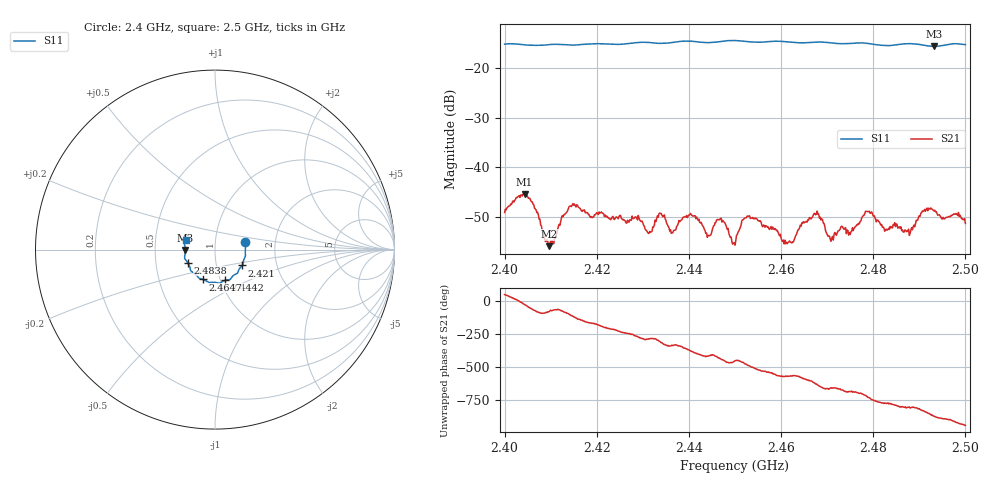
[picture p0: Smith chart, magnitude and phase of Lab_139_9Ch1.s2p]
# Hz S RI R 50
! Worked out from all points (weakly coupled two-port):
!   601 points, 2.4 GHz to 2.5 GHz, reference 50 ohm
!   highest |S21| = -45.38 dB at 2.4043 GHz (marker M1); lowest = -55.9 dB at 2.4097 GHz (marker M2)
!   lowest |S11| = -15.6 dB at 2.4932 GHz (marker M3), VSWR 1.40, Z = 35.8 - j0.109 ohm
!   |S11| at or under -10 dB: start of sweep to end of sweep
!   S12 and S22 are empty: the file has one direction only
!   S11 on the Smith chart (normalised r, x): 2.4 GHz: 1.40, +0.12; 2.421 GHz: 1.33, -0.24; 2.4442 GHz: 1.05, -0.37; 2.4647 GHz: 0.83, -0.28; 2.4838 GHz: 0.73, -0.11; 2.5 GHz: 0.71, +0.08
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2.4e9  0.1689 0.0404  0.00244 0.00253  0 0  0 0
2.404333e9  0.1703 0.0158  0.00466 -0.0027  0 0  0 0
2.409667e9  0.1697 -0.0269  0.000233 -0.00159  0 0  0 0
2.414333e9  0.1619 -0.0518  -0.00134 -0.00385  0 0  0 0
2.416667e9  0.1581 -0.0685  -0.00306 -0.00204  0 0  0 0
2.421e9  0.1514 -0.0886  -0.00347 0.000833  0 0  0 0
2.4315e9  0.1194 -0.1352  0.000696 0.00216  0 0  0 0
2.433333e9  0.1085 -0.1401  0.00149 0.00277  0 0  0 0
2.440833e9  0.0791 -0.1678  0.00291 -0.0014  0 0  0 0
2.444167e9  0.0569 -0.1707  0.00109 -0.00176  0 0  0 0
2.4465e9  0.0393 -0.1794  0.001 -0.00278  0 0  0 0
2.45e9  0.0245 -0.1874  -8.05e-05 -0.00165  0 0  0 0
2.452667e9  0.0118 -0.184  -0.0018 -0.00269  0 0  0 0
2.461167e9  -0.0409 -0.1788  -0.00155 0.000847  0 0  0 0
2.464667e9  -0.067 -0.166  -0.00188 0.00197  0 0  0 0
2.466667e9  -0.081 -0.1622  -0.00127 0.00284  0 0  0 0
2.470833e9  -0.096 -0.1511  0.000793 0.00162  0 0  0 0
2.478667e9  -0.1369 -0.1122  0.00359 -0.000131  0 0  0 0
2.483333e9  -0.1496 -0.0764  0.0013 -0.00207  0 0  0 0
2.483833e9  -0.1524 -0.0719  0.00142 -0.00201  0 0  0 0
2.493167e9  -0.1652 -0.00148  -0.00317 -0.00181  0 0  0 0
2.5e9  -0.164 0.0517  -0.00208 0.00176  0 0  0 0
